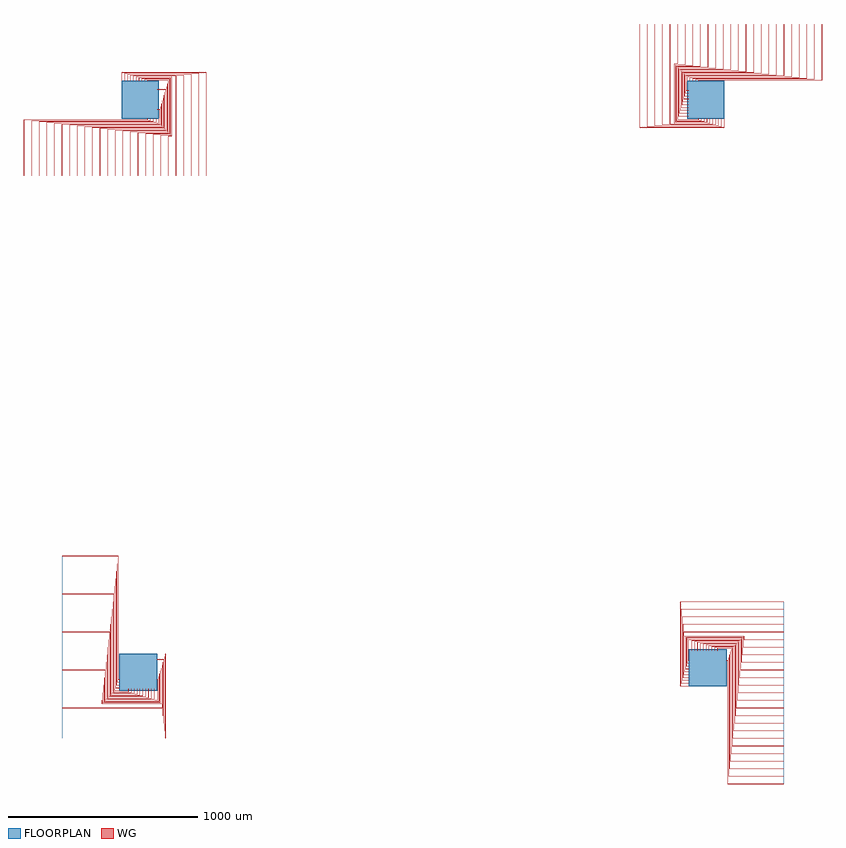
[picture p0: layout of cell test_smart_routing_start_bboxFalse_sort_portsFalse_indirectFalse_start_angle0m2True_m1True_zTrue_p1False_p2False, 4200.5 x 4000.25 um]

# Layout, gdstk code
import gdstk
lib = gdstk.Library(unit=1e-6, precision=1e-09)
def R(c, l, rs):  # rectangles x0, y0, x1, y1
    for r in rs: c.add(gdstk.rectangle(r[:2], r[2:], *l))
def P(c, l, *ps):  # polygons
    for p in ps: c.add(gdstk.Polygon(p, *l))
WG = (1, 0)
FLOORPLAN = (10, 0)

test_smart_routing_start = lib.new_cell('test_smart_routing_start_bboxFalse_sort_portsFalse_indirectFalse_start_angle0m2True_m1True_zTrue_p1False_p2False')
P(test_smart_routing_start, WG, [(-104.5,-50.25),(-104.5,599.75),(-400,599.75),(-400,600.25),(-104,600.25),(-104,-49.75),(-100,-49.75),(-100,-50.25)],
  [(-109,-65.25),(-109,559.75),(-400,559.75),(-400,560.25),(-108.5,560.25),(-108.5,-64.75),(-100,-64.75),(-100,-65.25)],
  [(-113.5,-80.25),(-113.5,519.75),(-400,519.75),(-400,520.25),(-113,520.25),(-113,-79.75),(-100,-79.75),(-100,-80.25)],
  [(-118,-95.25),(-118,479.75),(-400,479.75),(-400,480.25),(-117.5,480.25),(-117.5,-94.75),(-100,-94.75),(-100,-95.25)],
  [(-122.5,-110.25),(-122.5,439.75),(-400,439.75),(-400,440.25),(-122,440.25),(-122,-109.75),(-100,-109.75),(-100,-110.25)],
  [(-127,-114.75),(-127,399.75),(-400,399.75),(-400,400.25),(-126.5,400.25),(-126.5,-114.25),(-50.25,-114.25),(-50.25,-100),(-49.75,-100),(-49.75,-114.75)],
  [(-131.5,-119.25),(-131.5,359.75),(-400,359.75),(-400,360.25),(-131,360.25),(-131,-118.75),(-35.25,-118.75),(-35.25,-100),(-34.75,-100),(-34.75,-119.25)],
  [(-136,-123.75),(-136,319.75),(-400,319.75),(-400,320.25),(-135.5,320.25),(-135.5,-123.25),(-20.25,-123.25),(-20.25,-100),(-19.75,-100),(-19.75,-123.75)],
  [(-140.5,-128.25),(-140.5,279.75),(-400,279.75),(-400,280.25),(-140,280.25),(-140,-127.75),(-5.25,-127.75),(-5.25,-100),(-4.75,-100),(-4.75,-128.25)],
  [(-145,-132.75),(-145,239.75),(-400,239.75),(-400,240.25),(-144.5,240.25),(-144.5,-132.25),(9.75,-132.25),(9.75,-100),(10.25,-100),(10.25,-132.75)],
  [(-149.5,-137.25),(-149.5,199.75),(-400,199.75),(-400,200.25),(-149,200.25),(-149,-136.75),(24.75,-136.75),(24.75,-100),(25.25,-100),(25.25,-137.25)],
  [(-154,-141.75),(-154,159.75),(-400,159.75),(-400,160.25),(-153.5,160.25),(-153.5,-141.25),(39.75,-141.25),(39.75,-100),(40.25,-100),(40.25,-141.75)],
  [(-158.5,-146.25),(-158.5,119.75),(-400,119.75),(-400,120.25),(-158,120.25),(-158,-145.75),(54.75,-145.75),(54.75,-100),(55.25,-100),(55.25,-146.25)],
  [(-163,-150.75),(-163,79.75),(-400,79.75),(-400,80.25),(-162.5,80.25),(-162.5,-150.25),(69.75,-150.25),(69.75,-100),(70.25,-100),(70.25,-150.75)],
  [(-167.5,-155.25),(-167.5,39.75),(-400,39.75),(-400,40.25),(-167,40.25),(-167,-154.75),(84.75,-154.75),(84.75,-100),(85.25,-100),(85.25,-155.25)],
  [(-172,-159.75),(-172,-0.25),(-400,-0.25),(-400,0.25),(-171.5,0.25),(-171.5,-159.25),(104,-159.25),(104,-50.25),(100,-50.25),(100,-49.75),(104.5,-49.75),(104.5,-159.75)],
  [(-176.5,-164.25),(-176.5,-40.25),(-400,-40.25),(-400,-39.75),(-176,-39.75),(-176,-163.75),(108.5,-163.75),(108.5,-35.25),(100,-35.25),(100,-34.75),(109,-34.75),(109,-164.25)],
  [(-181,-168.75),(-181,-80.25),(-400,-80.25),(-400,-79.75),(-180.5,-79.75),(-180.5,-168.25),(113,-168.25),(113,-20.25),(100,-20.25),(100,-19.75),(113.5,-19.75),(113.5,-168.75)],
  [(-185.5,-173.25),(-185.5,-120.25),(-400,-120.25),(-400,-119.75),(-185,-119.75),(-185,-172.75),(117.5,-172.75),(117.5,-5.25),(100,-5.25),(100,-4.75),(118,-4.75),(118,-173.25)],
  [(-190,-177.75),(-190,-160.25),(-400,-160.25),(-400,-159.75),(-189.5,-159.75),(-189.5,-177.25),(122,-177.25),(122,9.75),(100,9.75),(100,10.25),(122.5,10.25),(122.5,-177.75)],
  [(-400,-200.25),(-400,-199.75),(126.5,-199.75),(126.5,24.75),(100,24.75),(100,25.25),(127,25.25),(127,-200.25)],
  [(-400,-240.25),(-400,-239.75),(131,-239.75),(131,39.75),(100,39.75),(100,40.25),(131.5,40.25),(131.5,-240.25)],
  [(-400,-280.25),(-400,-279.75),(135.5,-279.75),(135.5,54.75),(100,54.75),(100,55.25),(136,55.25),(136,-280.25)],
  [(-400,-320.25),(-400,-319.75),(140,-319.75),(140,69.75),(100,69.75),(100,70.25),(140.5,70.25),(140.5,-320.25)],
  [(-400,-360.25),(-400,-359.75),(144.5,-359.75),(144.5,84.75),(100,84.75),(100,85.25),(145,85.25),(145,-360.25)],
  [(-600.25,2600),(-600.25,2896),(49.75,2896),(49.75,2900),(50.25,2900),(50.25,2895.5),(-599.75,2895.5),(-599.75,2600)],
  [(-560.25,2600),(-560.25,2891.5),(64.75,2891.5),(64.75,2900),(65.25,2900),(65.25,2891),(-559.75,2891),(-559.75,2600)],
  [(-520.25,2600),(-520.25,2887),(79.75,2887),(79.75,2900),(80.25,2900),(80.25,2886.5),(-519.75,2886.5),(-519.75,2600)],
  [(-480.25,2600),(-480.25,2882.5),(94.75,2882.5),(94.75,2900),(95.25,2900),(95.25,2882),(-479.75,2882),(-479.75,2600)],
  [(-440.25,2600),(-440.25,2878),(109.75,2878),(109.75,2900),(110.25,2900),(110.25,2877.5),(-439.75,2877.5),(-439.75,2600)],
  [(-400.25,2600),(-400.25,2873.5),(114.25,2873.5),(114.25,2949.75),(100,2949.75),(100,2950.25),(114.75,2950.25),(114.75,2873),(-399.75,2873),(-399.75,2600)],
  [(-360.25,2600),(-360.25,2869),(118.75,2869),(118.75,2964.75),(100,2964.75),(100,2965.25),(119.25,2965.25),(119.25,2868.5),(-359.75,2868.5),(-359.75,2600)],
  [(-320.25,2600),(-320.25,2864.5),(123.25,2864.5),(123.25,2979.75),(100,2979.75),(100,2980.25),(123.75,2980.25),(123.75,2864),(-319.75,2864),(-319.75,2600)],
  [(-280.25,2600),(-280.25,2860),(127.75,2860),(127.75,2994.75),(100,2994.75),(100,2995.25),(128.25,2995.25),(128.25,2859.5),(-279.75,2859.5),(-279.75,2600)],
  [(-240.25,2600),(-240.25,2855.5),(132.25,2855.5),(132.25,3009.75),(100,3009.75),(100,3010.25),(132.75,3010.25),(132.75,2855),(-239.75,2855),(-239.75,2600)],
  [(-200.25,2600),(-200.25,2851),(136.75,2851),(136.75,3024.75),(100,3024.75),(100,3025.25),(137.25,3025.25),(137.25,2850.5),(-199.75,2850.5),(-199.75,2600)],
  [(-160.25,2600),(-160.25,2846.5),(141.25,2846.5),(141.25,3039.75),(100,3039.75),(100,3040.25),(141.75,3040.25),(141.75,2846),(-159.75,2846),(-159.75,2600)],
  [(-120.25,2600),(-120.25,2842),(145.75,2842),(145.75,3054.75),(100,3054.75),(100,3055.25),(146.25,3055.25),(146.25,2841.5),(-119.75,2841.5),(-119.75,2600)],
  [(-80.25,2600),(-80.25,2837.5),(150.25,2837.5),(150.25,3069.75),(100,3069.75),(100,3070.25),(150.75,3070.25),(150.75,2837),(-79.75,2837),(-79.75,2600)],
  [(-40.25,2600),(-40.25,2833),(154.75,2833),(154.75,3084.75),(100,3084.75),(100,3085.25),(155.25,3085.25),(155.25,2832.5),(-39.75,2832.5),(-39.75,2600)],
  [(-0.25,2600),(-0.25,2828.5),(159.25,2828.5),(159.25,3104),(50.25,3104),(50.25,3100),(49.75,3100),(49.75,3104.5),(159.75,3104.5),(159.75,2828),(0.25,2828),(0.25,2600)],
  [(39.75,2600),(39.75,2824),(163.75,2824),(163.75,3108.5),(35.25,3108.5),(35.25,3100),(34.75,3100),(34.75,3109),(164.25,3109),(164.25,2823.5),(40.25,2823.5),(40.25,2600)],
  [(79.75,2600),(79.75,2819.5),(168.25,2819.5),(168.25,3113),(20.25,3113),(20.25,3100),(19.75,3100),(19.75,3113.5),(168.75,3113.5),(168.75,2819),(80.25,2819),(80.25,2600)],
  [(119.75,2600),(119.75,2815),(172.75,2815),(172.75,3117.5),(5.25,3117.5),(5.25,3100),(4.75,3100),(4.75,3118),(173.25,3118),(173.25,2814.5),(120.25,2814.5),(120.25,2600)],
  [(159.75,2600),(159.75,2810.5),(177.25,2810.5),(177.25,3122),(-9.75,3122),(-9.75,3100),(-10.25,3100),(-10.25,3122.5),(177.75,3122.5),(177.75,2810),(160.25,2810),(160.25,2600)],
  [(199.75,2600),(199.75,3126.5),(-24.75,3126.5),(-24.75,3100),(-25.25,3100),(-25.25,3127),(200.25,3127),(200.25,2600)],
  [(239.75,2600),(239.75,3131),(-39.75,3131),(-39.75,3100),(-40.25,3100),(-40.25,3131.5),(240.25,3131.5),(240.25,2600)],
  [(279.75,2600),(279.75,3135.5),(-54.75,3135.5),(-54.75,3100),(-55.25,3100),(-55.25,3136),(280.25,3136),(280.25,2600)],
  [(319.75,2600),(319.75,3140),(-69.75,3140),(-69.75,3100),(-70.25,3100),(-70.25,3140.5),(320.25,3140.5),(320.25,2600)],
  [(359.75,2600),(359.75,3144.5),(-84.75,3144.5),(-84.75,3100),(-85.25,3100),(-85.25,3145),(360.25,3145),(360.25,2600)],
  [(3104,-600.25),(3104,49.75),(3100,49.75),(3100,50.25),(3104.5,50.25),(3104.5,-599.75),(3400,-599.75),(3400,-600.25)],
  [(3108.5,-560.25),(3108.5,64.75),(3100,64.75),(3100,65.25),(3109,65.25),(3109,-559.75),(3400,-559.75),(3400,-560.25)],
  [(3113,-520.25),(3113,79.75),(3100,79.75),(3100,80.25),(3113.5,80.25),(3113.5,-519.75),(3400,-519.75),(3400,-520.25)],
  [(3117.5,-480.25),(3117.5,94.75),(3100,94.75),(3100,95.25),(3118,95.25),(3118,-479.75),(3400,-479.75),(3400,-480.25)],
  [(3122,-440.25),(3122,109.75),(3100,109.75),(3100,110.25),(3122.5,110.25),(3122.5,-439.75),(3400,-439.75),(3400,-440.25)],
  [(3126.5,-400.25),(3126.5,114.25),(3050.25,114.25),(3050.25,100),(3049.75,100),(3049.75,114.75),(3127,114.75),(3127,-399.75),(3400,-399.75),(3400,-400.25)],
  [(3131,-360.25),(3131,118.75),(3035.25,118.75),(3035.25,100),(3034.75,100),(3034.75,119.25),(3131.5,119.25),(3131.5,-359.75),(3400,-359.75),(3400,-360.25)],
  [(3135.5,-320.25),(3135.5,123.25),(3020.25,123.25),(3020.25,100),(3019.75,100),(3019.75,123.75),(3136,123.75),(3136,-319.75),(3400,-319.75),(3400,-320.25)],
  [(3140,-280.25),(3140,127.75),(3005.25,127.75),(3005.25,100),(3004.75,100),(3004.75,128.25),(3140.5,128.25),(3140.5,-279.75),(3400,-279.75),(3400,-280.25)],
  [(3144.5,-240.25),(3144.5,132.25),(2990.25,132.25),(2990.25,100),(2989.75,100),(2989.75,132.75),(3145,132.75),(3145,-239.75),(3400,-239.75),(3400,-240.25)],
  [(3149,-200.25),(3149,136.75),(2975.25,136.75),(2975.25,100),(2974.75,100),(2974.75,137.25),(3149.5,137.25),(3149.5,-199.75),(3400,-199.75),(3400,-200.25)],
  [(3153.5,-160.25),(3153.5,141.25),(2960.25,141.25),(2960.25,100),(2959.75,100),(2959.75,141.75),(3154,141.75),(3154,-159.75),(3400,-159.75),(3400,-160.25)],
  [(3158,-120.25),(3158,145.75),(2945.25,145.75),(2945.25,100),(2944.75,100),(2944.75,146.25),(3158.5,146.25),(3158.5,-119.75),(3400,-119.75),(3400,-120.25)],
  [(3162.5,-80.25),(3162.5,150.25),(2930.25,150.25),(2930.25,100),(2929.75,100),(2929.75,150.75),(3163,150.75),(3163,-79.75),(3400,-79.75),(3400,-80.25)],
  [(3167,-40.25),(3167,154.75),(2915.25,154.75),(2915.25,100),(2914.75,100),(2914.75,155.25),(3167.5,155.25),(3167.5,-39.75),(3400,-39.75),(3400,-40.25)],
  [(3171.5,-0.25),(3171.5,159.25),(2896,159.25),(2896,50.25),(2900,50.25),(2900,49.75),(2895.5,49.75),(2895.5,159.75),(3172,159.75),(3172,0.25),(3400,0.25),(3400,-0.25)],
  [(2891,34.75),(2891,164.25),(3176.5,164.25),(3176.5,40.25),(3400,40.25),(3400,39.75),(3176,39.75),(3176,163.75),(2891.5,163.75),(2891.5,35.25),(2900,35.25),(2900,34.75)],
  [(2886.5,19.75),(2886.5,168.75),(3181,168.75),(3181,80.25),(3400,80.25),(3400,79.75),(3180.5,79.75),(3180.5,168.25),(2887,168.25),(2887,20.25),(2900,20.25),(2900,19.75)],
  [(2882,4.75),(2882,173.25),(3185.5,173.25),(3185.5,120.25),(3400,120.25),(3400,119.75),(3185,119.75),(3185,172.75),(2882.5,172.75),(2882.5,5.25),(2900,5.25),(2900,4.75)],
  [(2877.5,-10.25),(2877.5,177.75),(3190,177.75),(3190,160.25),(3400,160.25),(3400,159.75),(3189.5,159.75),(3189.5,177.25),(2878,177.25),(2878,-9.75),(2900,-9.75),(2900,-10.25)],
  [(2873,-25.25),(2873,200.25),(3400,200.25),(3400,199.75),(2873.5,199.75),(2873.5,-24.75),(2900,-24.75),(2900,-25.25)],
  [(2868.5,-40.25),(2868.5,240.25),(3400,240.25),(3400,239.75),(2869,239.75),(2869,-39.75),(2900,-39.75),(2900,-40.25)],
  [(2864,-55.25),(2864,280.25),(3400,280.25),(3400,279.75),(2864.5,279.75),(2864.5,-54.75),(2900,-54.75),(2900,-55.25)],
  [(2859.5,-70.25),(2859.5,320.25),(3400,320.25),(3400,319.75),(2860,319.75),(2860,-69.75),(2900,-69.75),(2900,-70.25)],
  [(2855,-85.25),(2855,360.25),(3400,360.25),(3400,359.75),(2855.5,359.75),(2855.5,-84.75),(2900,-84.75),(2900,-85.25)],
  [(2949.75,3100),(2949.75,3104.5),(3599.75,3104.5),(3599.75,3400),(3600.25,3400),(3600.25,3104),(2950.25,3104),(2950.25,3100)],
  [(2934.75,3100),(2934.75,3109),(3559.75,3109),(3559.75,3400),(3560.25,3400),(3560.25,3108.5),(2935.25,3108.5),(2935.25,3100)],
  [(2919.75,3100),(2919.75,3113.5),(3519.75,3113.5),(3519.75,3400),(3520.25,3400),(3520.25,3113),(2920.25,3113),(2920.25,3100)],
  [(2904.75,3100),(2904.75,3118),(3479.75,3118),(3479.75,3400),(3480.25,3400),(3480.25,3117.5),(2905.25,3117.5),(2905.25,3100)],
  [(2889.75,3100),(2889.75,3122.5),(3439.75,3122.5),(3439.75,3400),(3440.25,3400),(3440.25,3122),(2890.25,3122),(2890.25,3100)],
  [(2885.25,3049.75),(2885.25,3127),(3399.75,3127),(3399.75,3400),(3400.25,3400),(3400.25,3126.5),(2885.75,3126.5),(2885.75,3050.25),(2900,3050.25),(2900,3049.75)],
  [(2880.75,3034.75),(2880.75,3131.5),(3359.75,3131.5),(3359.75,3400),(3360.25,3400),(3360.25,3131),(2881.25,3131),(2881.25,3035.25),(2900,3035.25),(2900,3034.75)],
  [(2876.25,3019.75),(2876.25,3136),(3319.75,3136),(3319.75,3400),(3320.25,3400),(3320.25,3135.5),(2876.75,3135.5),(2876.75,3020.25),(2900,3020.25),(2900,3019.75)],
  [(2871.75,3004.75),(2871.75,3140.5),(3279.75,3140.5),(3279.75,3400),(3280.25,3400),(3280.25,3140),(2872.25,3140),(2872.25,3005.25),(2900,3005.25),(2900,3004.75)],
  [(2867.25,2989.75),(2867.25,3145),(3239.75,3145),(3239.75,3400),(3240.25,3400),(3240.25,3144.5),(2867.75,3144.5),(2867.75,2990.25),(2900,2990.25),(2900,2989.75)],
  [(2862.75,2974.75),(2862.75,3149.5),(3199.75,3149.5),(3199.75,3400),(3200.25,3400),(3200.25,3149),(2863.25,3149),(2863.25,2975.25),(2900,2975.25),(2900,2974.75)],
  [(2858.25,2959.75),(2858.25,3154),(3159.75,3154),(3159.75,3400),(3160.25,3400),(3160.25,3153.5),(2858.75,3153.5),(2858.75,2960.25),(2900,2960.25),(2900,2959.75)],
  [(2853.75,2944.75),(2853.75,3158.5),(3119.75,3158.5),(3119.75,3400),(3120.25,3400),(3120.25,3158),(2854.25,3158),(2854.25,2945.25),(2900,2945.25),(2900,2944.75)],
  [(2849.25,2929.75),(2849.25,3163),(3079.75,3163),(3079.75,3400),(3080.25,3400),(3080.25,3162.5),(2849.75,3162.5),(2849.75,2930.25),(2900,2930.25),(2900,2929.75)],
  [(2844.75,2914.75),(2844.75,3167.5),(3039.75,3167.5),(3039.75,3400),(3040.25,3400),(3040.25,3167),(2845.25,3167),(2845.25,2915.25),(2900,2915.25),(2900,2914.75)],
  [(2840.25,2895.5),(2840.25,3172),(2999.75,3172),(2999.75,3400),(3000.25,3400),(3000.25,3171.5),(2840.75,3171.5),(2840.75,2896),(2949.75,2896),(2949.75,2900),(2950.25,2900),(2950.25,2895.5)],
  [(2835.75,2891),(2835.75,3176.5),(2959.75,3176.5),(2959.75,3400),(2960.25,3400),(2960.25,3176),(2836.25,3176),(2836.25,2891.5),(2964.75,2891.5),(2964.75,2900),(2965.25,2900),(2965.25,2891)],
  [(2831.25,2886.5),(2831.25,3181),(2919.75,3181),(2919.75,3400),(2920.25,3400),(2920.25,3180.5),(2831.75,3180.5),(2831.75,2887),(2979.75,2887),(2979.75,2900),(2980.25,2900),(2980.25,2886.5)],
  [(2826.75,2882),(2826.75,3185.5),(2879.75,3185.5),(2879.75,3400),(2880.25,3400),(2880.25,3185),(2827.25,3185),(2827.25,2882.5),(2994.75,2882.5),(2994.75,2900),(2995.25,2900),(2995.25,2882)],
  [(2822.25,2877.5),(2822.25,3190),(2839.75,3190),(2839.75,3400),(2840.25,3400),(2840.25,3189.5),(2822.75,3189.5),(2822.75,2878),(3009.75,2878),(3009.75,2900),(3010.25,2900),(3010.25,2877.5)],
  [(2799.75,2873),(2799.75,3400),(2800.25,3400),(2800.25,2873.5),(3024.75,2873.5),(3024.75,2900),(3025.25,2900),(3025.25,2873)],
  [(2759.75,2868.5),(2759.75,3400),(2760.25,3400),(2760.25,2869),(3039.75,2869),(3039.75,2900),(3040.25,2900),(3040.25,2868.5)],
  [(2719.75,2864),(2719.75,3400),(2720.25,3400),(2720.25,2864.5),(3054.75,2864.5),(3054.75,2900),(3055.25,2900),(3055.25,2864)],
  [(2679.75,2859.5),(2679.75,3400),(2680.25,3400),(2680.25,2860),(3069.75,2860),(3069.75,2900),(3070.25,2900),(3070.25,2859.5)],
  [(2639.75,2855),(2639.75,3400),(2640.25,3400),(2640.25,2855.5),(3084.75,2855.5),(3084.75,2900),(3085.25,2900),(3085.25,2855)])
R(test_smart_routing_start, FLOORPLAN, [(-100,-110,100,85), (2900,-85,3100,110), (-85,2900,110,3100), (2890,2900,3085,3100)])
P(test_smart_routing_start, FLOORPLAN, [(-400,-360),(-400,600),(-400,600),(-400,-360)],
  [(-600,2600),(-600,2600),(360,2600),(360,2600)],
  [(3400,-600),(3400,360),(3400,360),(3400,-600)],
  [(2640,3400),(2640,3400),(3600,3400),(3600,3400)])

lib.write_gds('test_smart_routing_start_bboxFalse_sort_portsFalse_indirectFalse_start_angle0m2True_m1True_zTrue_p1False_p2False.gds')
